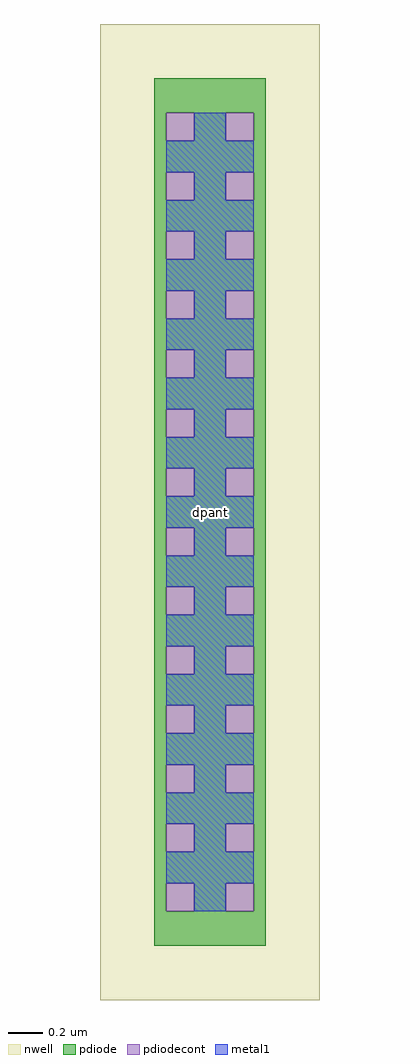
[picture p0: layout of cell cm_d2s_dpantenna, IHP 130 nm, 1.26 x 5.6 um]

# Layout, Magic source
magic
tech ihp-sg13cmos5l
<< nwell >>
rect -31 -31 95 529
<< pdiode >>
rect 0 478 64 498
rect 0 462 7 478
rect 23 462 41 478
rect 57 462 64 478
rect 0 444 64 462
rect 0 428 7 444
rect 23 428 41 444
rect 57 428 64 444
rect 0 410 64 428
rect 0 394 7 410
rect 23 394 41 410
rect 57 394 64 410
rect 0 376 64 394
rect 0 360 7 376
rect 23 360 41 376
rect 57 360 64 376
rect 0 342 64 360
rect 0 326 7 342
rect 23 326 41 342
rect 57 326 64 342
rect 0 308 64 326
rect 0 292 7 308
rect 23 292 41 308
rect 57 292 64 308
rect 0 274 64 292
rect 0 258 7 274
rect 23 258 41 274
rect 57 258 64 274
rect 0 240 64 258
rect 0 224 7 240
rect 23 224 41 240
rect 57 224 64 240
rect 0 206 64 224
rect 0 190 7 206
rect 23 190 41 206
rect 57 190 64 206
rect 0 172 64 190
rect 0 156 7 172
rect 23 156 41 172
rect 57 156 64 172
rect 0 138 64 156
rect 0 122 7 138
rect 23 122 41 138
rect 57 122 64 138
rect 0 104 64 122
rect 0 88 7 104
rect 23 88 41 104
rect 57 88 64 104
rect 0 70 64 88
rect 0 54 7 70
rect 23 54 41 70
rect 57 54 64 70
rect 0 36 64 54
rect 0 20 7 36
rect 23 20 41 36
rect 57 20 64 36
rect 0 0 64 20
<< pdiodecont >>
rect 7 462 23 478
rect 41 462 57 478
rect 7 428 23 444
rect 41 428 57 444
rect 7 394 23 410
rect 41 394 57 410
rect 7 360 23 376
rect 41 360 57 376
rect 7 326 23 342
rect 41 326 57 342
rect 7 292 23 308
rect 41 292 57 308
rect 7 258 23 274
rect 41 258 57 274
rect 7 224 23 240
rect 41 224 57 240
rect 7 190 23 206
rect 41 190 57 206
rect 7 156 23 172
rect 41 156 57 172
rect 7 122 23 138
rect 41 122 57 138
rect 7 88 23 104
rect 41 88 57 104
rect 7 54 23 70
rect 41 54 57 70
rect 7 20 23 36
rect 41 20 57 36
<< metal1 >>
rect 23 462 41 478
rect 7 444 57 462
rect 23 428 41 444
rect 7 410 57 428
rect 23 394 41 410
rect 7 376 57 394
rect 23 360 41 376
rect 7 342 57 360
rect 23 326 41 342
rect 7 308 57 326
rect 23 292 41 308
rect 7 274 57 292
rect 23 258 41 274
rect 7 240 57 258
rect 23 224 41 240
rect 7 206 57 224
rect 23 190 41 206
rect 7 172 57 190
rect 23 156 41 172
rect 7 138 57 156
rect 23 122 41 138
rect 7 104 57 122
rect 23 88 41 104
rect 7 70 57 88
rect 23 54 41 70
rect 7 36 57 54
rect 23 20 41 36
<< labels >>
flabel comment s 32 249 32 249 0 FreeSans 200 0 0 0 dpant
<< properties >>
string GDS_END 58150
string GDS_FILE custom_io/gds/sg13cmos5l_IOPadDiff2Single.uniq.gds
string GDS_START 55904
<< end >>
